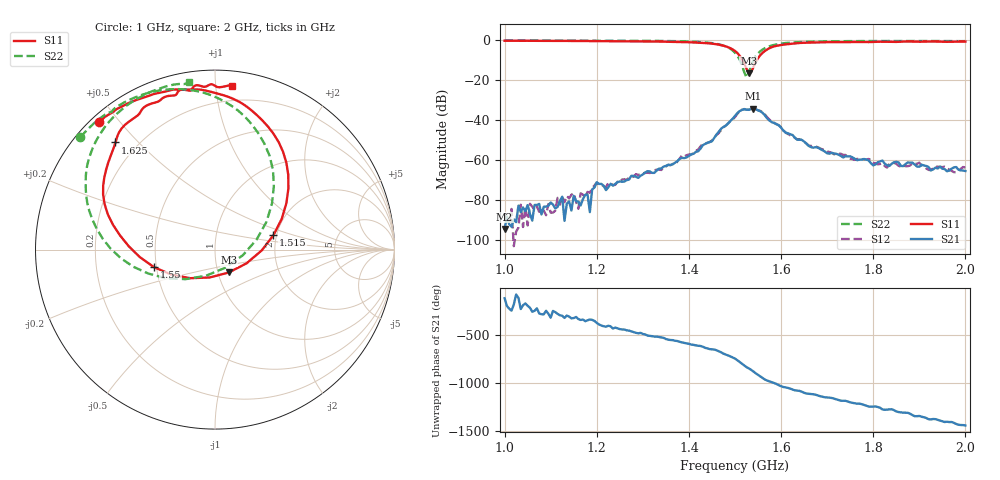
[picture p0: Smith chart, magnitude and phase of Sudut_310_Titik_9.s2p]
# Hz S RI R 50
! CMT, C1220, 16058040, 17.2.0/1
! Date: 14/08/2018 11:59:21
! Data: Format (Calibration Info)
! Freq  S11: Re/Im (F2)  S21: Re/Im (F2)  S12: Re/Im (F2)  S22: Re/Im (F2)
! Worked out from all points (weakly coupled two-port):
!   201 points, 1 GHz to 2 GHz, reference 50 ohm
!   highest |S21| = -34.25 dB at 1.54 GHz (marker M1); lowest = -94.3 dB at 1 GHz (marker M2)
!   lowest |S11| = -16.5 dB at 1.53 GHz (marker M3), VSWR 1.35, Z = 56.3 - j14.7 ohm
!   |S11| at or under -10 dB: 1.516 GHz to 1.548 GHz (31.41 MHz wide, 2.05 % of centre)
!   |S22| runs from -18.7 to -0.2 dB; largest |S21 - S12| = 0.0008
!   S11 on the Smith chart (normalised r, x): 1 GHz: 0.02, +0.44; 1.515 GHz: 1.93, +0.35; 1.55 GHz: 0.49, -0.11; 1.625 GHz: 0.12, +0.43; 2 GHz: 0.10, +1.10
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1e9  -0.6445 0.7124  -1.08e-05 -1.58e-05  -4.23e-05 1.7e-05  -0.7501 0.6269
1.13e9  -0.5105 0.8015  2.58e-05 1.65e-05  6.95e-05 5.62e-05  -0.6513 0.7232
1.15e9  -0.4925 0.811  0.00011 6.73e-05  0.000136 6.53e-05  -0.6327 0.7376
1.16e9  -0.4842 0.815  8.55e-05 3.34e-05  4.89e-05 3.7e-05  -0.6229 0.7451
1.17e9  -0.4709 0.821  0.000103 2.91e-05  0.000133 3.62e-05  -0.6123 0.752
1.18e9  -0.454 0.8277  0.000138 1.83e-05  0.00016 2.4e-05  -0.6011 0.7584
1.185e9  -0.4458 0.8309  4.83e-05 1.46e-05  0.000153 1.69e-05  -0.5952 0.7614
1.2e9  -0.428 0.8365  0.000264 -9.25e-05  0.000261 -0.000101  -0.5784 0.7654
1.22e9  -0.4083 0.8431  9.59e-05 -0.000151  0.000127 -0.000168  -0.5672 0.779
1.335e9  -0.213 0.8917  -0.000594 -0.000161  -0.000579 -9.04e-05  -0.3958 0.8659
1.45e9  0.1802 0.794  0.00111 0.00275  0.00133 0.0028  0.0267 0.8388
1.5e9  0.409 0.3424  0.0112 -0.006  0.0105 -0.0057  0.3278 0.3531
1.515e9  0.3259 0.0806  0.0029 -0.0178  0.00336 -0.0178  0.2323 0.0566
1.525e9  0.176 -0.0764  -0.00805 -0.0163  -0.00808 -0.0165  0.0586 -0.1004
1.53e9  0.0772 -0.1275  -0.0115 -0.014  -0.0116 -0.0141  -0.05 -0.1457
1.54e9  -0.1379 -0.1594  -0.0184 -0.00621  -0.0182 -0.00619  -0.2737 -0.1597
1.55e9  -0.3394 -0.098  -0.0168 0.005  -0.0171 0.00438  -0.4556 -0.0953
1.58e9  -0.6151 0.2532  0.000201 0.00891  0.000615 0.0092  -0.7007 0.2164
1.625e9  -0.5544 0.5968  0.00416 0.000901  0.00389 0.000982  -0.6973 0.522
1.67e9  -0.4408 0.7401  0.00165 -0.00123  0.00179 -0.00139  -0.6204 0.6736
1.835e9  -0.1459 0.8857  -0.000701 0.00016  -0.000815 9.55e-05  -0.3704 0.8734
2e9  0.0931 0.9119  0.000538 3.89e-06  0.00065 -2.16e-05  -0.147 0.931
